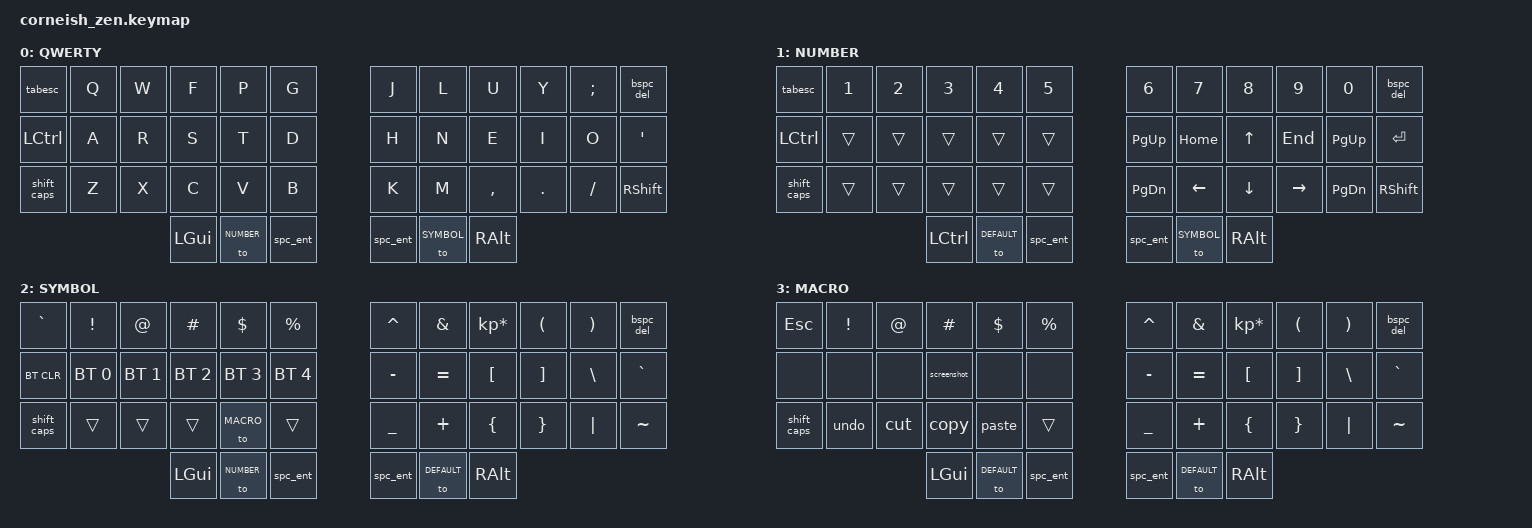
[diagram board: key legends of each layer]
#include <behaviors.dtsi>
#include <dt-bindings/zmk/keys.h>
#include <dt-bindings/zmk/bt.h>

/ {
  chosen {
    zmk,matrix_transform = &default_transform;
    //zmk,matrix_transform = &five_column_transform;
  };
};



#define DEFAULT  0
#define NUMBER   1
#define SYMBOL   2
#define MACRO    3

/ {
    behaviors {
        bspc_del: backspace_delete {
            compatible = "zmk,behavior-mod-morph";
            label = "BACKSPACE_DELETE";
            #binding-cells = <0>;
            bindings = <&kp BACKSPACE>, <&kp DELETE>;
            mods = <(MOD_LSFT|MOD_RSFT)>;
            keep-mods = <(MOD_RSFT)>;
        };
        
        tabesc: tab_escape {
            compatible = "zmk,behavior-mod-morph";
            label = "TAB_ESCAPE";
            #binding-cells = <0>;
            bindings = <&kp TAB>, <&kp ESC>;
            mods = <(MOD_LSFT|MOD_RSFT)>;
            keep-mods = <(MOD_RSFT)>;
        };
    };
};

/ {
    behaviors {
        spc_ent: space_enter {
            compatible = "zmk,behavior-mod-morph";
            label = "SPACE_ENTER";
            #binding-cells = <0>;
            bindings = <&kp SPACE>, <&kp RET>;
            mods = <(MOD_LSFT|MOD_RSFT)>;
            keep-mods = <(MOD_RSFT)>;
        };
        
        shift_caps: tap_dance_0 {
            compatible = "zmk,behavior-tap-dance";
            label = "shift_caps";
            #binding-cells = <0>;
            tapping-term-ms = <200>;
            bindings = <&kp LSHFT>, <&kp CAPS>;
        };
    };
};


/ {
    behaviors {
        lh_pht: left_hand_positional_hold_tap {
            compatible = "zmk,behavior-hold-tap";
            label = "LEFT_POSITIONAL_HOLD_TAP";
            #binding-cells = <2>;
            flavor = "hold-preferred";
            tapping-term-ms = <500>;                        // <---[[produces tap if held longer than tapping-term-ms]]
            quick-tap-ms = <10>;
            global-quick-tap;
            bindings = <&kp>, <&kp>;
            hold-trigger-key-positions = <7 8 9 10 11 12 19 20 21 22 23 24 31 32 33 34 35 36>;    // <---[[right-hand keys]]
        };
    
        rh_pht: right_hand_positional_hold_tap {
            compatible = "zmk,behavior-hold-tap";
            label = "RIGHT_POSITIONAL_HOLD_TAP";
            #binding-cells = <2>;
            flavor = "hold-preferred";
            tapping-term-ms = <500>;                        // <---[[produces tap if held longer than tapping-term-ms]]
            quick-tap-ms = <10>;
            global-quick-tap;
            bindings = <&kp>, <&kp>;
            hold-trigger-key-positions = <1 2 3 4 5 6 13 14 15 16 17 18 25 26 27 28 29 30>;    // <---[[left-hand keys]]
        };
    };
};

/ {
    macros {
        screenshot: screenshot {
            label = "screenshot";
            compatible = "zmk,behavior-macro";
            #binding-cells = <0>;
            bindings
                = <&macro_press &kp GUI>
                , <&macro_tap &kp LSHFT &kp S>
                , <&macro_release &kp GUI>
                ;
        };
        copy: copy {
            label = "copy";
            compatible = "zmk,behavior-macro";
            #binding-cells = <0>;
            bindings
                = <&macro_press &kp LCTRL>
                , <&macro_tap &kp C>
                , <&macro_release &kp LCTRL>
                ;
        };
        cut: cut {
            label = "cut";
            compatible = "zmk,behavior-macro";
            #binding-cells = <0>;
            bindings
                = <&macro_press &kp LCTRL>
                , <&macro_tap &kp X>
                , <&macro_release &kp LCTRL>
                ;
        };
        paste: paste {
            label = "paste";
            compatible = "zmk,behavior-macro";
            #binding-cells = <0>;
            bindings
                = <&macro_press &kp LCTRL>
                , <&macro_tap &kp V>
                , <&macro_release &kp LCTRL>
                ;
        };
        undo: undo {
            label = "undo";
            compatible = "zmk,behavior-macro";
            #binding-cells = <0>;
            bindings
                = <&macro_press &kp LCTRL>
                , <&macro_tap &kp Z>
                , <&macro_release &kp LCTRL>
                ;
        };
    };
};

/ {
        keymap {
                compatible = "zmk,keymap";

                default_layer {
                        label = "QWERTY";
// -----------------------------------------------------------------------------------------
// |TAB/ESC |  Q  |  W  |  F  |  P  |  G  |   |  J  |  L   |  U  |  Y  |  ;  | BKSP |
// | CTRL   |  A  |  R  |  S  |  T  |  D  |   |  H  |  N   |  E  |  I  |  O  |  '   |
// | SHFT   |  Z  |  X  |  C  |  V  |  B  |   |  K  |  M   |  ,  |  .  |  /  | SHFT |
//                  | GUI | NUMBER |SPC ENT|   |SPC ENT| SYMBOL  | ALT |
                        bindings = <
   &tabesc     &kp Q           &kp W          &kp F          &kp P           &kp G   &kp J   &kp L            &kp U              &kp Y            &kp SEMI            &bspc_del
   &kp LCTRL   &kp A           &kp R          &kp S          &kp T           &kp D   &kp H   &kp N            &kp E              &kp I            &kp O               &kp SQT
   &shift_caps &kp Z           &kp X          &kp C          &kp V           &kp B   &kp K   &kp M            &kp COMMA          &kp DOT          &kp FSLH            &kp RSHFT
                  &kp LGUI &to NUMBER &spc_ent  &spc_ent &to SYMBOL &kp RALT
                        >;
                };
                
                lower_layer {
                        label = "NUMBER";
// -----------------------------------------------------------------------------------------
// |TAB/ESC|  1  |  2  |  3   |  4  |  5  |   |  6    |  7   |  8  |  9   |  0    | BKSP DEL |
// | CTRL |     |     |      |     |     |   | PG UP | HOME | UP  | END  | PG UP | ENTER  |
// | SHFT |     |     |      |     |     |   | PG DN | LFT  | DWN | RGHT | PG DN | SHIFT  |
//                    | CTRL |DEFAULT|SPC ENT |   |SPC ENT | SYMBOL  | ALT |
                        bindings = <
   &tabesc       &kp N1       &kp N2       &kp N3       &kp N4       &kp N5         &kp N6       &kp N7       &kp N8     &kp N9      &kp N0      &bspc_del
   &kp LCTRL    &trans       &trans       &trans       &trans       &trans         &kp PG_UP    &kp HOME     &kp UP     &kp END     &kp PG_UP   &kp RET
   &shift_caps  &trans       &trans       &trans       &trans       &trans         &kp PG_DN    &kp LEFT     &kp DOWN   &kp RIGHT   &kp PG_DN   &kp RSHFT
                          	              &kp LCTRL    &to DEFAULT  &spc_ent       &spc_ent   &to SYMBOL   &kp RALT
                        >;
                };

                raise_layer {
                        label = "SYMBOL";
// -----------------------------------------------------------------------------------------
// | ` |  !  |  @  |  #  |  $  |  %  |   |  ^  |  &  |  *  |  (  |  )  | BKSP |
// | BTCLR| BT1 | BT2 | BT3 | BT4 | BT5 |   |  -  |  =  |  [  |  ]  |  \  |  `   |
// | SHFT |     |     |     |MACRO|     |   |  _  |  +  |  {  |  }  | "|" |  ~   |
//                    | GUI |NUMBER| SPC |   | ENT |DEFAULT| ALT |
                        bindings = <
   &kp GRAVE     &kp EXCL     &kp AT       &kp HASH     &kp DLLR     &kp PRCNT       &kp CARET  &kp AMPS   &kp KP_MULTIPLY  &kp LPAR  &kp RPAR  &bspc_del
   &bt BT_CLR  &bt BT_SEL 0 &bt BT_SEL 1 &bt BT_SEL 2 &bt BT_SEL 3 &bt BT_SEL 4    &kp MINUS  &kp EQUAL  &kp LBKT         &kp RBKT  &kp BSLH  &kp GRAVE
   &shift_caps &trans       &trans       &trans       &to MACRO    &trans          &kp UNDER  &kp PLUS   &kp LBRC         &kp RBRC  &kp PIPE  &kp TILDE
                    	                            &kp LGUI &to NUMBER   &spc_ent        &spc_ent   &to DEFAULT    &kp RALT
                        >;
                };
                
                macro_layer {
                        label = "MACRO";
// -----------------------------------------------------------------------------------------
// | ESC  |  !  |  @  |  #  |  $  |  %  |   |  ^  |  &  |  *  |  (  |  )  | BKSP |
// |      |     |     |     |screenshot |         |   |  -  |  =  |  [  |  ]  |  \  |  `   |
// | SHFT | undo|cut  | copy|paste|     |   |  _  |  +  |  {  |  }  | "|" |  ~   |
//                    | GUI |DEFAULT| SPC |   | ENT |DEFAULT| ALT |
                        bindings = <
   &kp ESC      &kp EXCL     &kp AT       &kp HASH     &kp DLLR     &kp PRCNT       &kp CARET  &kp AMPS   &kp KP_MULTIPLY  &kp LPAR  &kp RPAR  &bspc_del
   &none   &none   &none   &screenshot   &none   &none   &kp MINUS  &kp EQUAL  &kp LBKT         &kp RBKT  &kp BSLH  &kp GRAVE
   &shift_caps  &undo        &cut         &copy        &paste       &trans          &kp UNDER  &kp PLUS   &kp LBRC         &kp RBRC  &kp PIPE  &kp TILDE
                    	                            &kp LGUI &to DEFAULT   &spc_ent        &spc_ent   &to DEFAULT    &kp RALT
                        >;
                };
        };
};
